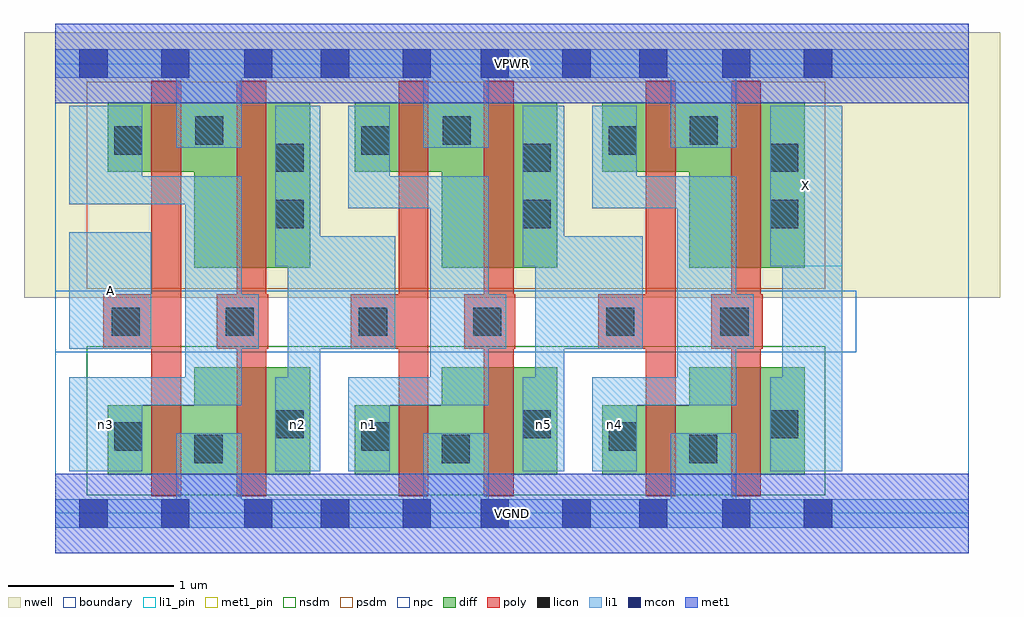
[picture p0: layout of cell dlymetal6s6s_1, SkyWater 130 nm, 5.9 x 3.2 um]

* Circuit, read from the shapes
.subckt dlymetal6s6s_1 A VGND VPWR X n1 n2 n3 n4 n5
XM1 VGND A n3 VSUBS sky130_fd_pr__nfet_01v8 w=0.42 l=0.18
XM2 n2 n3 VGND VSUBS sky130_fd_pr__nfet_01v8 w=0.65 l=0.18
XM3 VGND n2 n1 VSUBS sky130_fd_pr__nfet_01v8 w=0.42 l=0.18
XM4 n5 n1 VGND VSUBS sky130_fd_pr__nfet_01v8 w=0.65 l=0.18
XM5 VGND n5 n4 VSUBS sky130_fd_pr__nfet_01v8 w=0.42 l=0.18
XM6 X n4 VGND VSUBS sky130_fd_pr__nfet_01v8 w=0.65 l=0.18
XM7 VPWR A n3 n6 sky130_fd_pr__pfet_01v8 w=0.42 l=0.18
XM8 n2 n3 VPWR n6 sky130_fd_pr__pfet_01v8 w=1 l=0.18
XM9 VPWR n2 n1 n6 sky130_fd_pr__pfet_01v8 w=0.42 l=0.18
XM10 n5 n1 VPWR n6 sky130_fd_pr__pfet_01v8 w=1 l=0.18
XM11 VPWR n5 n4 n6 sky130_fd_pr__pfet_01v8 w=0.42 l=0.18
XM12 X n4 VPWR n6 sky130_fd_pr__pfet_01v8 w=1 l=0.18
.ends

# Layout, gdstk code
import gdstk
lib = gdstk.Library(unit=1e-6, precision=1e-09)
def R(c, l, rs):  # rectangles x0, y0, x1, y1
    for r in rs: c.add(gdstk.rectangle(r[:2], r[2:], *l))
def A(c, l, x, y, w, h, nx, ny, dx, dy):  # array of equal rectangles
    R(c, l, [(x+i*dx, y+j*dy, x+i*dx+w, y+j*dy+h) for i in range(nx) for j in range(ny)])
nwell = (64, 20)
diff = (65, 20)
poly = (66, 20)
licon = (66, 44)
li1_pin = (67, 16)
li1 = (67, 20)
mcon = (67, 44)
met1_pin = (68, 16)
met1 = (68, 20)
nsdm = (93, 44)
psdm = (94, 20)
npc = (95, 20)
boundary = (235, 4)

dlymetal6s6s_1 = lib.new_cell('dlymetal6s6s_1')
R(dlymetal6s6s_1, nwell, [(-0.19,1.305,5.71,2.91), (0,1.305,5.52,2.91)])
A(dlymetal6s6s_1, diff, 0.315, 0.235, 1.225, 0.42, 3, 2, 1.495, 1.83)
A(dlymetal6s6s_1, diff, 0.84, 0.235, 0.7, 0.65, 3, 1, 1.495, 0)
A(dlymetal6s6s_1, diff, 0.84, 1.485, 0.7, 1, 3, 1, 1.495, 0)
A(dlymetal6s6s_1, poly, 0.29, 0.995, 0.47, 0.33, 3, 1, 1.495, 0)
A(dlymetal6s6s_1, poly, 0.975, 0.995, 0.31, 0.33, 3, 1, 1.495, 0)
R(dlymetal6s6s_1, poly, [(0.58,0.105,0.76,2.615), (1.095,0.105,1.275,2.615), (2.075,0.105,2.255,2.615), (2.59,0.105,2.77,2.615), (3.57,0.105,3.75,2.615), (4.085,0.105,4.265,2.615)])
A(dlymetal6s6s_1, licon, 0.84, 0.305, 0.17, 0.17, 3, 1, 1.495, 0)
A(dlymetal6s6s_1, licon, 0.355, 0.38, 0.17, 0.17, 3, 2, 1.495, 1.79)
A(dlymetal6s6s_1, licon, 1.33, 0.455, 0.17, 0.17, 3, 2, 1.495, 1.27)
A(dlymetal6s6s_1, licon, 1.33, 2.065, 0.17, 0.17, 3, 1, 1.495, 0)
A(dlymetal6s6s_1, licon, 0.845, 2.23, 0.17, 0.17, 3, 1, 1.495, 0)
R(dlymetal6s6s_1, licon, [(0.34,1.075,0.51,1.245), (1.03,1.075,1.2,1.245), (1.835,1.075,2.005,1.245), (2.525,1.075,2.695,1.245), (3.33,1.075,3.5,1.245), (4.02,1.075,4.19,1.245)])
R(dlymetal6s6s_1, li1_pin, [(0.085,0.995,0.58,1.7), (4.32,1.495,4.755,2.465)])
A(dlymetal6s6s_1, li1, 0.73, -0.085, 0.395, 0.57, 3, 1, 1.495, 0)
A(dlymetal6s6s_1, li1, 0.73, 2.21, 0.395, 0.595, 3, 1, 1.495, 0)
R(dlymetal6s6s_1, li1, [(0,-0.085,5.52,0.085), (0.085,0.255,0.525,0.825), (1.33,0.255,1.6,0.825), (1.405,0.255,1.6,2.465), (1.77,0.255,2.02,0.825), (2.825,0.255,3.075,0.825), (2.9,0.255,3.075,2.465), (3.245,0.255,3.515,0.825), (4.32,0.255,4.755,0.825), (4.395,0.255,4.755,2.465), (0.085,0.655,1.125,0.825), (0.785,0.655,1.125,2.04), (1.77,0.655,2.62,0.825), (2.265,0.655,2.62,2.04), (3.245,0.655,4.115,0.825), (3.76,0.655,4.115,2.04), (0.085,0.995,0.58,1.7), (0.785,0.995,1.23,1.325), (1.405,0.995,2.055,1.675), (2.265,0.995,2.725,1.325), (2.9,0.995,3.55,1.675), (3.76,0.995,4.22,1.325), (1.33,1.495,1.6,2.465), (2.825,1.495,3.075,2.465), (4.32,1.495,4.755,2.465), (1.77,1.845,2.02,2.465), (1.77,1.845,2.62,2.04), (3.245,1.845,3.515,2.465), (3.245,1.845,4.115,2.04), (0.085,1.87,1.125,2.04), (0.085,1.87,0.525,2.465), (0,2.635,5.52,2.805)])
R(dlymetal6s6s_1, mcon, [(0.145,-0.085,0.315,0.085), (0.64,-0.085,0.81,0.085), (1.14,-0.085,1.31,0.085), (1.605,-0.085,1.775,0.085), (2.1,-0.085,2.27,0.085), (2.57,-0.085,2.74,0.085), (3.065,-0.085,3.235,0.085), (3.53,-0.085,3.7,0.085), (4.03,-0.085,4.2,0.085), (4.525,-0.085,4.695,0.085), (0.145,2.635,0.315,2.805), (0.64,2.635,0.81,2.805), (1.14,2.635,1.31,2.805), (1.605,2.635,1.775,2.805), (2.1,2.635,2.27,2.805), (2.57,2.635,2.74,2.805), (3.065,2.635,3.235,2.805), (3.53,2.635,3.7,2.805), (4.03,2.635,4.2,2.805), (4.525,2.635,4.695,2.805)])
R(dlymetal6s6s_1, met1_pin, [(0,-0.24,5.52,0.24), (0,2.48,5.52,2.96)])
R(dlymetal6s6s_1, met1, [(0,-0.24,5.52,0.24), (0,2.48,5.52,2.96)])
R(dlymetal6s6s_1, nsdm, [(0.19,0.11,4.655,1.01)])
R(dlymetal6s6s_1, psdm, [(0.19,1.36,4.655,2.61)])
R(dlymetal6s6s_1, npc, [(0,0.975,4.84,1.345)])
R(dlymetal6s6s_1, boundary, [(0,0,5.52,2.72)])
dlymetal6s6s_1.add(gdstk.Label('A', (0.332,1.347), layer=67, texttype=5))
dlymetal6s6s_1.add(gdstk.Label('X', (4.537,1.98), layer=67, texttype=5))
dlymetal6s6s_1.add(gdstk.Label('n3', (0.305,0.54), layer=67, texttype=5))
dlymetal6s6s_1.add(gdstk.Label('n2', (1.465,0.54), layer=67, texttype=5))
dlymetal6s6s_1.add(gdstk.Label('n1', (1.895,0.54), layer=67, texttype=5))
dlymetal6s6s_1.add(gdstk.Label('n5', (2.95,0.54), layer=67, texttype=5))
dlymetal6s6s_1.add(gdstk.Label('n4', (3.38,0.54), layer=67, texttype=5))
dlymetal6s6s_1.add(gdstk.Label('VPWR', (2.76,2.72), layer=68, texttype=5))
dlymetal6s6s_1.add(gdstk.Label('VGND', (2.76,0), layer=68, texttype=5))
dlymetal6s6s_1.add(gdstk.Label('A', (0.332,1.347), layer=67, texttype=16))
dlymetal6s6s_1.add(gdstk.Label('X', (4.537,1.98), layer=67, texttype=16))
dlymetal6s6s_1.add(gdstk.Label('VPWR', (2.76,2.72), layer=68, texttype=16))
dlymetal6s6s_1.add(gdstk.Label('VGND', (2.76,0), layer=68, texttype=16))

lib.write_gds('dlymetal6s6s_1.gds')
